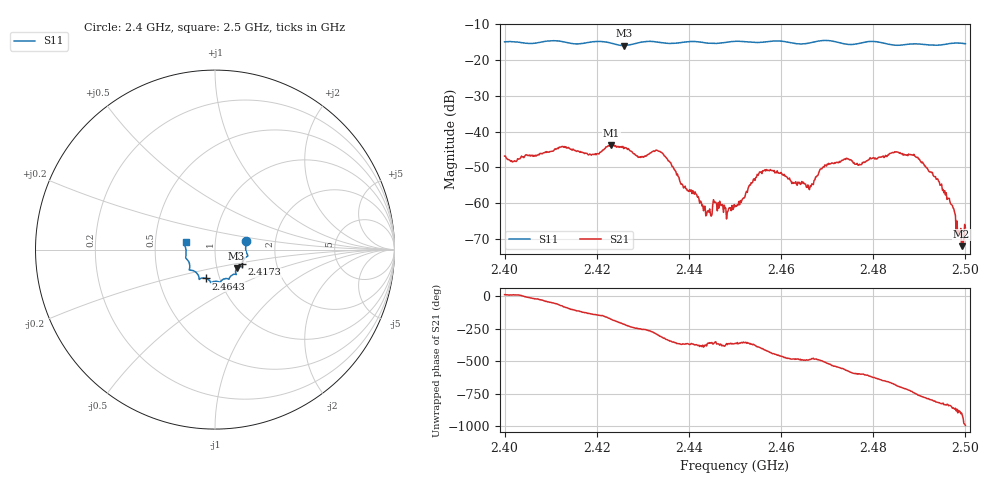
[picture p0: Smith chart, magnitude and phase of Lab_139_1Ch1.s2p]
# Hz S RI R 50
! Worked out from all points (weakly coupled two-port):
!   601 points, 2.4 GHz to 2.5 GHz, reference 50 ohm
!   highest |S21| = -43.87 dB at 2.4232 GHz (marker M1); lowest = -72.1 dB at 2.4992 GHz (marker M2)
!   lowest |S11| = -15.9 dB at 2.426 GHz (marker M3), VSWR 1.38, Z = 62.1 - j13.4 ohm
!   |S11| at or under -10 dB: start of sweep to end of sweep
!   S12 and S22 are empty: the file has one direction only
!   S11 on the Smith chart (normalised r, x): 2.4 GHz: 1.41, +0.14; 2.4173 GHz: 1.34, -0.23; 2.4643 GHz: 0.86, -0.28; 2.5 GHz: 0.72, +0.06
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2.4e9  0.1731 0.0488  0.0044 0.00111  0 0  0 0
2.402167e9  0.1759 0.0396  0.00383 0.000753  0 0  0 0
2.4125e9  0.1774 -0.0389  0.00187 -0.00591  0 0  0 0
2.416667e9  0.153 -0.0746  -0.00239 -0.00453  0 0  0 0
2.417333e9  0.1521 -0.0821  -0.00281 -0.00404  0 0  0 0
2.423167e9  0.1443 -0.0945  -0.00639 -0.000393  0 0  0 0
2.426e9  0.1205 -0.105  -0.00487 0.0035  0 0  0 0
2.4295e9  0.1162 -0.1343  -0.00155 0.00405  0 0  0 0
2.433333e9  0.113 -0.1373  0.00252 0.00469  0 0  0 0
2.443667e9  0.0655 -0.1612  0.000635 -0.000182  0 0  0 0
2.445833e9  0.0487 -0.1641  0.001 0.000195  0 0  0 0
2.45e9  0.0288 -0.1809  0.000886 -2.55e-05  0 0  0 0
2.4565e9  -0.0105 -0.1791  0.00173 -0.00235  0 0  0 0
2.464333e9  -0.0498 -0.1605  -0.00122 -0.00139  0 0  0 0
2.466667e9  -0.0759 -0.1592  -0.000896 -0.00162  0 0  0 0
2.47e9  -0.088 -0.1662  -0.00318 -0.00145  0 0  0 0
2.483333e9  -0.1405 -0.0897  0.00225 0.00413  0 0  0 0
2.488667e9  -0.1621 -0.047  0.00434 -0.00169  0 0  0 0
2.493e9  -0.1607 -0.0143  0.000263 -0.00242  0 0  0 0
2.497e9  -0.1694 0.0269  -0.000611 -0.000722  0 0  0 0
2.499167e9  -0.1678 0.038  -0.000249 -5.82e-06  0 0  0 0
2.5e9  -0.164 0.0427  3.96e-05 0.000449  0 0  0 0
